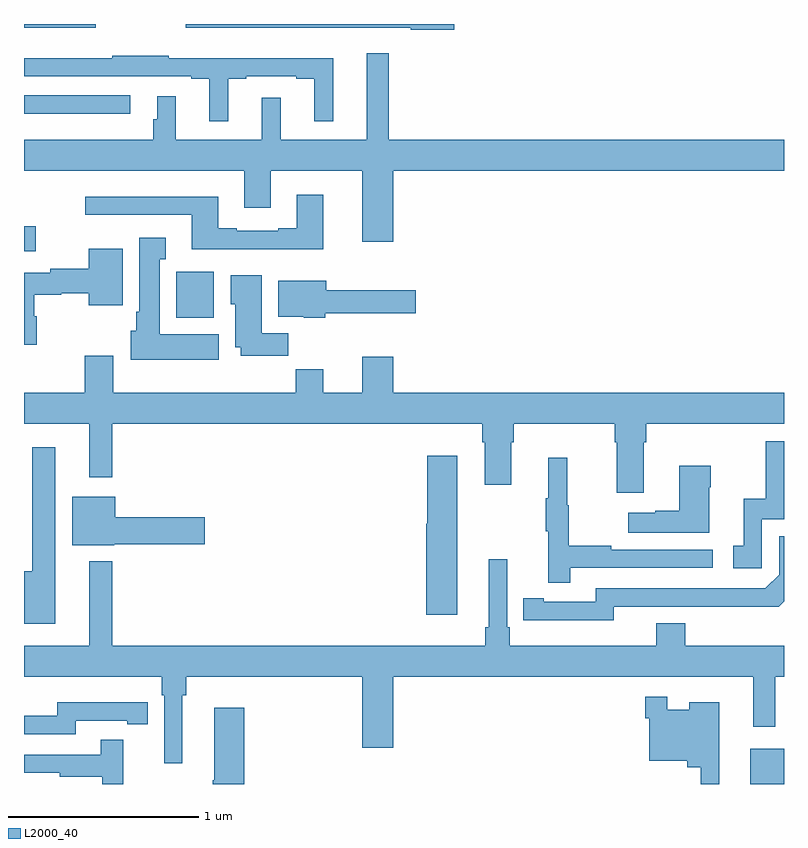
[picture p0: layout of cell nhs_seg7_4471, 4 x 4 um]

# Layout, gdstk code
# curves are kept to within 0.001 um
import gdstk
lib = gdstk.Library(unit=1e-6, precision=1e-09)
def R(c, l, rs):  # rectangles x0, y0, x1, y1
    for r in rs: c.add(gdstk.rectangle(r[:2], r[2:], *l))
def P(c, l, *ps):  # polygons
    for p in ps: c.add(gdstk.Polygon(p, *l))
L2000_40 = (2000, 40)

nhs_seg7_4471 = lib.new_cell('nhs_seg7_4471')
R(nhs_seg7_4471, L2000_40, [(394.823,1052,395,1052.185), (391.802,1054.454,391.999,1054.696), (391,1054.805,391.063,1054.935), (391,1055.528,391.558,1055.625), (391,1055.981,391.378,1056)])
P(nhs_seg7_4471, L2000_40, [(393.265,1056),(391.851,1056),(391.851,1055.981),(393.036,1055.981),(393.036,1055.969),(393.265,1055.969)],
  [(392.944,1055.228),(395,1055.228),(395,1055.392),(392.921,1055.392),(392.921,1055.845),(392.804,1055.845),(392.804,1055.392),(392.351,1055.392),(392.351,1055.611),(392.252,1055.611),(392.252,1055.392),(391.799,1055.392),(391.799,1055.62),(391.7,1055.62),(391.7,1055.498),(391.681,1055.498),(391.681,1055.392),(391,1055.392),(391,1055.228),(392.159,1055.228),(392.159,1055.034),(392.299,1055.034),(392.299,1055.228),(392.78,1055.228),(392.78,1054.854),(392.944,1054.854)],
  [(392.075,1055.712),(392.17,1055.712),(392.17,1055.724),(392.432,1055.724),(392.432,1055.712),(392.528,1055.712),(392.528,1055.487),(392.627,1055.487),(392.627,1055.821),(391.763,1055.821),(391.763,1055.833),(391.465,1055.833),(391.465,1055.821),(391,1055.821),(391,1055.724),(391.88,1055.724),(391.88,1055.712),(391.976,1055.712),(391.976,1055.487),(392.075,1055.487)],
  [(392.575,1055.101),(392.435,1055.101),(392.435,1054.924),(392.339,1054.924),(392.339,1054.911),(392.119,1054.911),(392.119,1054.924),(392.023,1054.924),(392.023,1055.092),(391.323,1055.092),(391.323,1054.995),(391.883,1054.995),(391.883,1054.814),(392.575,1054.814)],
  [(392.026,1054.366),(391.714,1054.366),(391.714,1054.763),(391.747,1054.763),(391.747,1054.876),(391.607,1054.876),(391.607,1054.486),(391.592,1054.486),(391.592,1054.386),(391.562,1054.386),(391.562,1054.232),(392.026,1054.232)],
  [(391.067,1054.461),(391.054,1054.461),(391.054,1054.576),(391.197,1054.576),(391.197,1054.584),(391.34,1054.584),(391.34,1054.52),(391.519,1054.52),(391.519,1054.816),(391.34,1054.816),(391.34,1054.712),(391.137,1054.712),(391.137,1054.692),(391,1054.692),(391,1054.311),(391.067,1054.311)],
  [(392.39,1054.372),(392.251,1054.372),(392.251,1054.678),(392.087,1054.678),(392.087,1054.524),(392.111,1054.524),(392.111,1054.298),(392.141,1054.298),(392.141,1054.254),(392.39,1054.254)],
  [(392.586,1054.478),(393.061,1054.478),(393.061,1054.6),(392.59,1054.6),(392.59,1054.648),(392.339,1054.648),(392.339,1054.46),(392.472,1054.46),(392.472,1054.454),(392.586,1054.454)],
  [(394.261,1053.8),(394.274,1053.8),(394.274,1053.896),(395,1053.896),(395,1054.06),(392.944,1054.06),(392.944,1054.249),(392.78,1054.249),(392.78,1054.06),(392.575,1054.06),(392.575,1054.184),(392.431,1054.184),(392.431,1054.06),(391.471,1054.06),(391.471,1054.255),(391.319,1054.255),(391.319,1054.06),(391,1054.06),(391,1053.896),(391.343,1053.896),(391.343,1053.615),(391.465,1053.615),(391.465,1053.896),(393.413,1053.896),(393.413,1053.8),(393.425,1053.8),(393.425,1053.576),(393.565,1053.576),(393.565,1053.8),(393.578,1053.8),(393.578,1053.896),(394.109,1053.896),(394.109,1053.8),(394.121,1053.8),(394.121,1053.534),(394.261,1053.534)],
  [(394.884,1053.393),(395,1053.393),(395,1053.804),(394.905,1053.804),(394.905,1053.502),(394.787,1053.502),(394.787,1053.255),(394.734,1053.255),(394.734,1053.135),(394.884,1053.135)],
  [(391.165,1053.772),(391.044,1053.772),(391.044,1053.119),(391,1053.119),(391,1052.843),(391.165,1052.843)],
  [(393.28,1053.727),(393.122,1053.727),(393.122,1053.369),(393.116,1053.369),(393.116,1052.892),(393.28,1052.892)],
  [(393.875,1053.138),(394.624,1053.138),(394.624,1053.234),(394.091,1053.234),(394.091,1053.254),(393.868,1053.254),(393.868,1053.468),(393.86,1053.468),(393.86,1053.718),(393.758,1053.718),(393.758,1053.505),(393.747,1053.505),(393.747,1053.331),(393.758,1053.331),(393.758,1053.06),(393.875,1053.06)],
  [(394.606,1053.563),(394.614,1053.563),(394.614,1053.676),(394.448,1053.676),(394.448,1053.437),(394.322,1053.437),(394.322,1053.427),(394.179,1053.427),(394.179,1053.323),(394.606,1053.323)],
  [(391.476,1053.263),(391.951,1053.263),(391.951,1053.405),(391.48,1053.405),(391.48,1053.511),(391.253,1053.511),(391.253,1053.257),(391.476,1053.257)],
  [(394.104,1052.934),(394.972,1052.933),(395,1052.961),(395,1053.303),(394.974,1053.303),(394.974,1053.102),(394.902,1053.03),(394.008,1053.03),(394.008,1052.958),(393.736,1052.958),(393.736,1052.978),(393.628,1052.978),(393.628,1052.862),(394.104,1052.861)],
  [(391.834,1052.468),(391.853,1052.468),(391.853,1052.564),(392.78,1052.564),(392.78,1052.19),(392.944,1052.19),(392.944,1052.564),(394.838,1052.564),(394.838,1052.301),(394.955,1052.301),(394.955,1052.564),(395,1052.564),(395,1052.728),(394.481,1052.728),(394.481,1052.845),(394.328,1052.845),(394.328,1052.728),(393.557,1052.728),(393.557,1052.824),(393.543,1052.824),(393.543,1053.184),(393.446,1053.184),(393.446,1052.824),(393.427,1052.824),(393.427,1052.728),(391.465,1052.728),(391.465,1053.172),(391.343,1053.172),(391.343,1052.728),(391,1052.728),(391,1052.564),(391.724,1052.564),(391.724,1052.468),(391.737,1052.468),(391.737,1052.109),(391.834,1052.109)],
  [(394.66,1052.431),(394.502,1052.431),(394.502,1052.392),(394.386,1052.392),(394.386,1052.458),(394.27,1052.458),(394.27,1052.345),(394.29,1052.345),(394.29,1052.123),(394.49,1052.123),(394.49,1052.087),(394.563,1052.087),(394.563,1052),(394.66,1052)],
  [(391.272,1052.334),(391.544,1052.334),(391.544,1052.314),(391.652,1052.314),(391.652,1052.43),(391.544,1052.43),(391.544,1052.431),(391.176,1052.431),(391.176,1052.358),(391,1052.358),(391,1052.262),(391.272,1052.262)],
  [(392.159,1052.401),(392,1052.401),(392,1052.021),(391.993,1052.021),(391.993,1052),(392.159,1052)],
  [(391.523,1052.233),(391.405,1052.233),(391.405,1052.154),(391,1052.154),(391,1052.058),(391.189,1052.058),(391.189,1052.038),(391.413,1052.038),(391.413,1052),(391.523,1052)])

lib.write_gds('nhs_seg7_4471.gds')
